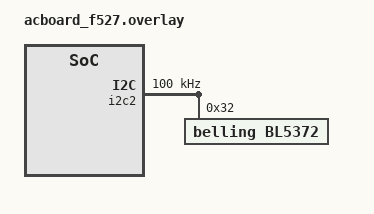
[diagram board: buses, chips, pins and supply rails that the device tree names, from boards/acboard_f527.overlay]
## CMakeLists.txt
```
# SPDX-License-Identifier: Apache-2.0

cmake_minimum_required(VERSION 3.20.0)

find_package(Zephyr REQUIRED HINTS $ENV{ZEPHYR_BASE})
project(acboard_bl5372_test)

target_sources(app PRIVATE src/main.c)
```

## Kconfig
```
# Copyright (c) 2026
# SPDX-License-Identifier: Apache-2.0

mainmenu "ACBoard BL5372 RTC test"

source "Kconfig.zephyr"
```

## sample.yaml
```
sample:
  name: ACBoard BL5372 RTC test
common:
  platform_allow:
    - acboard_f527
  tags:
    - i2c
    - rtc
tests:
  sample.boards.acboard.bl5372_test:
    build_only: true
```

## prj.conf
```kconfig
CONFIG_I2C=y
CONFIG_RTC=y
CONFIG_PRINTK=y
CONFIG_LOG=n

CONFIG_MAIN_STACK_SIZE=1024
CONFIG_HEAP_MEM_POOL_SIZE=0
```

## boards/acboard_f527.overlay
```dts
&i2c2 {
	status = "okay";
	clock-frequency = <I2C_BITRATE_STANDARD>;
	pinctrl-0 = <&i2c2_default>;
	pinctrl-names = "default";

	bl5372: rtc@32 {
		compatible = "belling,bl5372";
		reg = <0x32>;
		status = "okay";
	};
};
```

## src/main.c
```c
/*
 * Copyright (c) 2026
 * SPDX-License-Identifier: Apache-2.0
 */

#include <errno.h>

#include <zephyr/device.h>
#include <zephyr/drivers/rtc.h>
#include <zephyr/kernel.h>
#include <zephyr/sys/printk.h>

static const struct device *const rtc = DEVICE_DT_GET(DT_NODELABEL(bl5372));

static const struct rtc_time test_time = {
	.tm_sec = 0,
	.tm_min = 30,
	.tm_hour = 14,
	.tm_mday = 12,
	.tm_mon = 5,
	.tm_year = 126,
	.tm_wday = 5,
	.tm_yday = -1,
	.tm_isdst = -1,
};

int main(void)
{
	struct rtc_time time;
	int ret;

	printk("\nACBoard BL5372 RTC test\n");
	printk("I2C2: PA8 SCL, PC9 SDA, 100 kHz, address 0x32\n");

	if (!device_is_ready(rtc)) {
		printk("BL5372 device not ready\n");
		return 0;
	}

	ret = rtc_get_time(rtc, &time);
	if (ret == -ENODATA) {
		printk("BL5372 XSTP set, initializing test time: 2026-06-12 14:30:00\n");
		ret = rtc_set_time(rtc, &test_time);
		if (ret < 0) {
			printk("BL5372 test time write failed: %d\n", ret);
			return 0;
		}
		printk("BL5372 test time written successfully\n");
	}

	while (true) {
		ret = rtc_get_time(rtc, &time);
		if (ret == -ENODATA) {
			printk("BL5372 time invalid: XSTP indicates power loss or oscillator stop\n");
		} else if (ret == -ENOTSUP) {
			printk("BL5372 is configured for 12-hour mode; set time to select 24-hour mode\n");
		} else if (ret == -EAGAIN) {
			printk("BL5372 time changed while reading; retrying\n");
		} else if (ret < 0) {
			printk("BL5372 read failed: %d\n", ret);
		} else {
			printk("BL5372: %04d-%02d-%02d %02d:%02d:%02d weekday=%d\n",
			       time.tm_year + 1900, time.tm_mon + 1, time.tm_mday,
			       time.tm_hour, time.tm_min, time.tm_sec, time.tm_wday);
		}

		k_sleep(K_SECONDS(1));
	}

	return 0;
}
```
